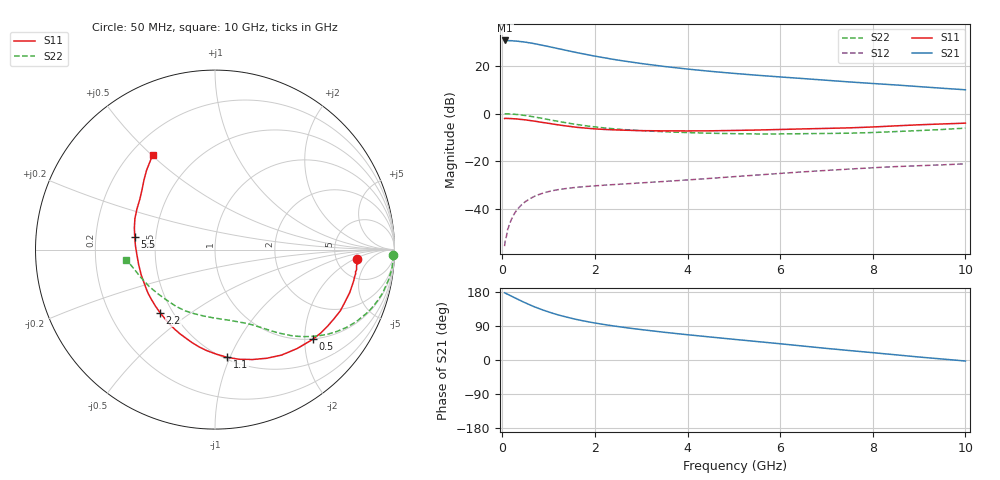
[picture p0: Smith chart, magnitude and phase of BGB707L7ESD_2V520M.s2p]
!  Infineon Technologies AG
!  BGB707L7ESD
!  Vce = 2.5V, Ic = 20.0mA
!  DATUM: 30.06.2009 10:17:17
# GHz  S  MA  R  50
!f  S11  S21  S12  S22
!GHz  Mag  Ang  Mag  Ang  Mag  Ang  Mag  Ang
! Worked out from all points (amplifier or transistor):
!   52 points, 50 MHz to 10 GHz, reference 50 ohm
!   highest |S21| = 30.8 dB at 60 MHz (marker M1)
!   |S21| within 3 dB of that: start of sweep to 1.104 GHz
!   unconditionally stable (mu >= 1): 4.295 GHz to 8.648 GHz
!   at 130 MHz: K = 0.04, MSG = 39.5 dB, |S12| = -48.2 dB
!   at 1.4 GHz: K = 0.42, MSG = 29.0 dB, |S12| = -31.4 dB
!   at 10 GHz: K = 0.93, MSG = 15.6 dB, |S12| = -21.1 dB
!   S11 on the Smith chart (normalised r, x): 50 MHz: 7.97, -2.35; 500 MHz: 1.00, -2.20; 1.1 GHz: 0.52, -0.98; 2.2 GHz: 0.43, -0.39; 5.5 GHz: 0.38, +0.07; 10 GHz: 0.29, +0.50
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0.05  0.7933 -4.0  34.1 177.3  0.001632 89.8  0.9912 -1.7
0.06  0.8007 -5.6  34.71 176.7  0.002039 94.1  0.9927 -2.3
0.08  0.7942 -6.7  34.2 175.4  0.002423 87.0  0.993 -3.4
0.09  0.7967 -8.1  34.5 175.3  0.002634 88.3  0.9934 -4.0
0.1  0.7926 -9.0  34.31 174.2  0.003029 84.2  0.9922 -4.5
0.2  0.7879 -17.6  34.28 168.4  0.006072 80.3  0.9828 -9.5
0.3  0.7771 -26.0  33.67 162.4  0.009034 77.2  0.9658 -14.3
0.5  0.7399 -42.4  31.95 150.8  0.01414 69.1  0.9138 -23.1
0.7  0.6951 -57.7  29.67 140.1  0.01836 62.4  0.8504 -30.7
0.9  0.647 -71.2  27.05 130.9  0.02163 56.9  0.7833 -37.1
1.1  0.6042 -83.5  24.63 122.9  0.02418 52.7  0.7199 -42.3
1.3  0.5653 -94.5  22.35 116.0  0.02601 49.7  0.6641 -46.6
1.5  0.5331 -104.1  20.3 109.8  0.02755 47.4  0.6153 -50.2
1.8  0.4972 -116.8  17.72 102.2  0.02937 45.4  0.5577 -54.7
2.2  0.4665 -130.9  15.01 93.6  0.0313 44.2  0.5017 -59.7
2.8  0.445 -147.2  12.13 83.2  0.03405 44.5  0.4508 -66.3
3.5  0.4347 -161.1  9.845 73.1  0.03751 46.2  0.4166 -73.8
4.5  0.4362 -176.2  7.77 60.6  0.04364 48.5  0.388 -85.2
5.5  0.453 170.8  6.437 48.7  0.05117 49.7  0.3752 -99.6
7  0.4903 152.5  5.047 30.6  0.06403 48.1  0.3836 -124.6
8.5  0.5545 135.5  4.017 13.6  0.07705 43.7  0.4203 -150.6
10  0.6322 123.3  3.184 -2.7  0.08807 39.0  0.4967 -173.5
